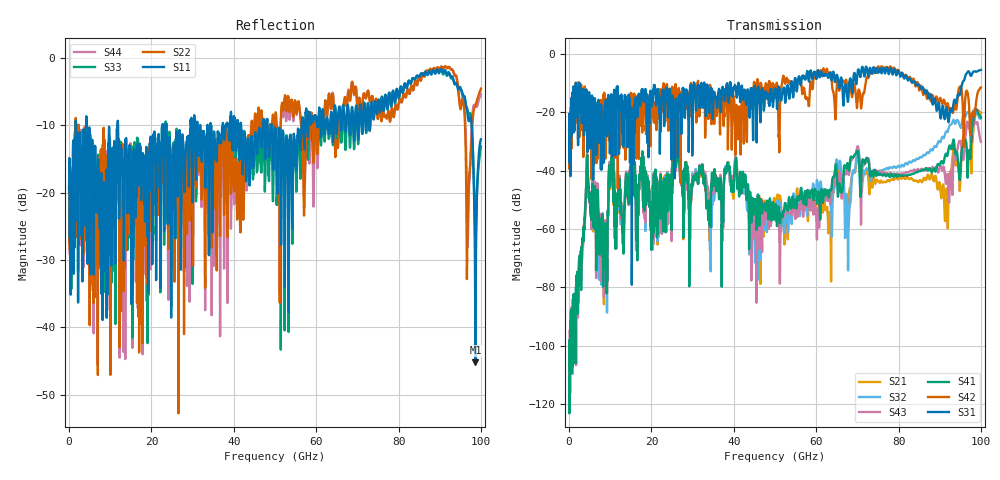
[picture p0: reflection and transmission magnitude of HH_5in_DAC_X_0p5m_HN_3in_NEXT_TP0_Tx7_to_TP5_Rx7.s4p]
# GHz S RI R 45
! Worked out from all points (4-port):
!   4000 points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, 25 MHz to 100 GHz, reference 45 ohm
!   strongest paths, dB at 25 MHz, 25.02 GHz, 50.02 GHz, 75.03 GHz, 100 GHz:
!     S31: -25.9, -17.1, -12.1, -6.2, -5.5
!     S42: -26.1, -11.5, -14.7, -4.3, -11.5
!     S41: -110.7, -39.5, -53.0, -40.7, -21.7
!     S43: -107.2, -39.3, -54.1, -41.1, -30.1
!     S32: -108.8, -38.5, -54.3, -40.4, -22.2
!     S21: -113.6, -38.3, -52.1, -43.6, -20.4
!   lowest |S11| = -45.1 dB at 98.67 GHz (marker M1), VSWR 1.01, Z = 45.5 - j0.0974 ohm
!   |S11| at or under -10 dB: 4.248 GHz to 11.81 GHz (7.559 GHz wide, 94.2 % of centre); 11.88 GHz to 22.73 GHz (10.85 GHz wide, 62.7 % of centre); 49.2 GHz to 56.5 GHz (7.297 GHz wide, 13.8 % of centre)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
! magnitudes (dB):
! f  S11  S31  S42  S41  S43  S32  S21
! 25 MHz  -19.5  -25.9  -26.1  -110.7  -107.2  -108.8  -113.6
! 4.5 GHz  -23.3  -29.0  -18.0  -39.6  -39.2  -39.6  -40.0
! 8.9 GHz  -22.2  -17.0  -22.5  -69.1  -75.5  -76.5  -76.4
! 10.28 GHz  -21.2  -19.3  -21.9  -37.3  -35.9  -37.5  -38.8
! 63.25 GHz  -11.1  -6.5  -7.3  -47.7  -49.3  -49.8  -54.5
! 98.67 GHz  -45.1  -6.0  -18.4  -19.0  -23.5  -19.6  -20.8
! 100 GHz  -12.1  -5.5  -11.5  -21.7  -30.1  -22.2  -20.4
